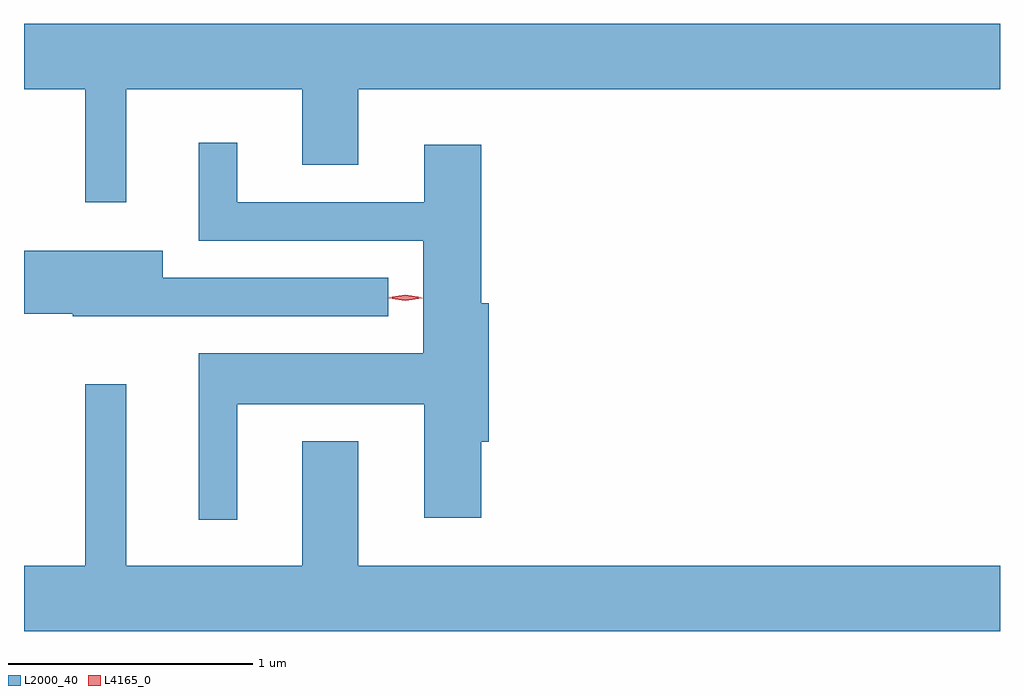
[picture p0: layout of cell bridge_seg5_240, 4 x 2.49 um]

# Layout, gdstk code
import gdstk
lib = gdstk.Library(unit=1e-6, precision=1e-09)
def P(c, l, *ps):  # polygons
    for p in ps: c.add(gdstk.Polygon(p, *l))
L2000_40 = (2000, 40)
L4165_0 = (4165, 0)

bridge_seg5_240 = lib.new_cell('bridge_seg5_240')
P(bridge_seg5_240, L2000_40, [(1006.209,1481.216),(1006.931,1481.216),(1006.931,1480.906),(1007.159,1480.906),(1007.159,1481.216),(1009.79,1481.216),(1009.79,1481.484),(1005.79,1481.484),(1005.79,1481.216),(1006.041,1481.216),(1006.041,1480.753),(1006.209,1480.753)],
  [(1006.664,1479.926),(1007.431,1479.926),(1007.431,1479.461),(1007.664,1479.461),(1007.664,1479.771),(1007.694,1479.771),(1007.694,1480.339),(1007.664,1480.339),(1007.664,1480.989),(1007.431,1480.989),(1007.431,1480.754),(1006.664,1480.754),(1006.664,1480.998),(1006.506,1480.998),(1006.506,1480.596),(1007.426,1480.596),(1007.426,1480.134),(1006.506,1480.134),(1006.506,1479.453),(1006.664,1479.453)],
  [(1007.283,1480.444),(1006.359,1480.444),(1006.359,1480.554),(1005.79,1480.554),(1005.79,1480.296),(1005.99,1480.296),(1005.99,1480.286),(1007.283,1480.286)],
  [(1009.79,1479.264),(1007.159,1479.264),(1007.159,1479.774),(1006.931,1479.774),(1006.931,1479.264),(1006.209,1479.264),(1006.209,1480.008),(1006.041,1480.008),(1006.041,1479.264),(1005.79,1479.264),(1005.79,1478.996),(1009.79,1478.996)])
P(bridge_seg5_240, L4165_0, [(1007.353,1480.35),(1007.284,1480.359),(1007.283,1480.36),(1007.284,1480.36),(1007.353,1480.369),(1007.422,1480.36),(1007.422,1480.359),(1007.422,1480.359)],
  [(1007.353,1480.354),(1007.287,1480.363),(1007.287,1480.364),(1007.287,1480.364),(1007.353,1480.374),(1007.418,1480.364),(1007.418,1480.364),(1007.418,1480.363)])

lib.write_gds('bridge_seg5_240.gds')
